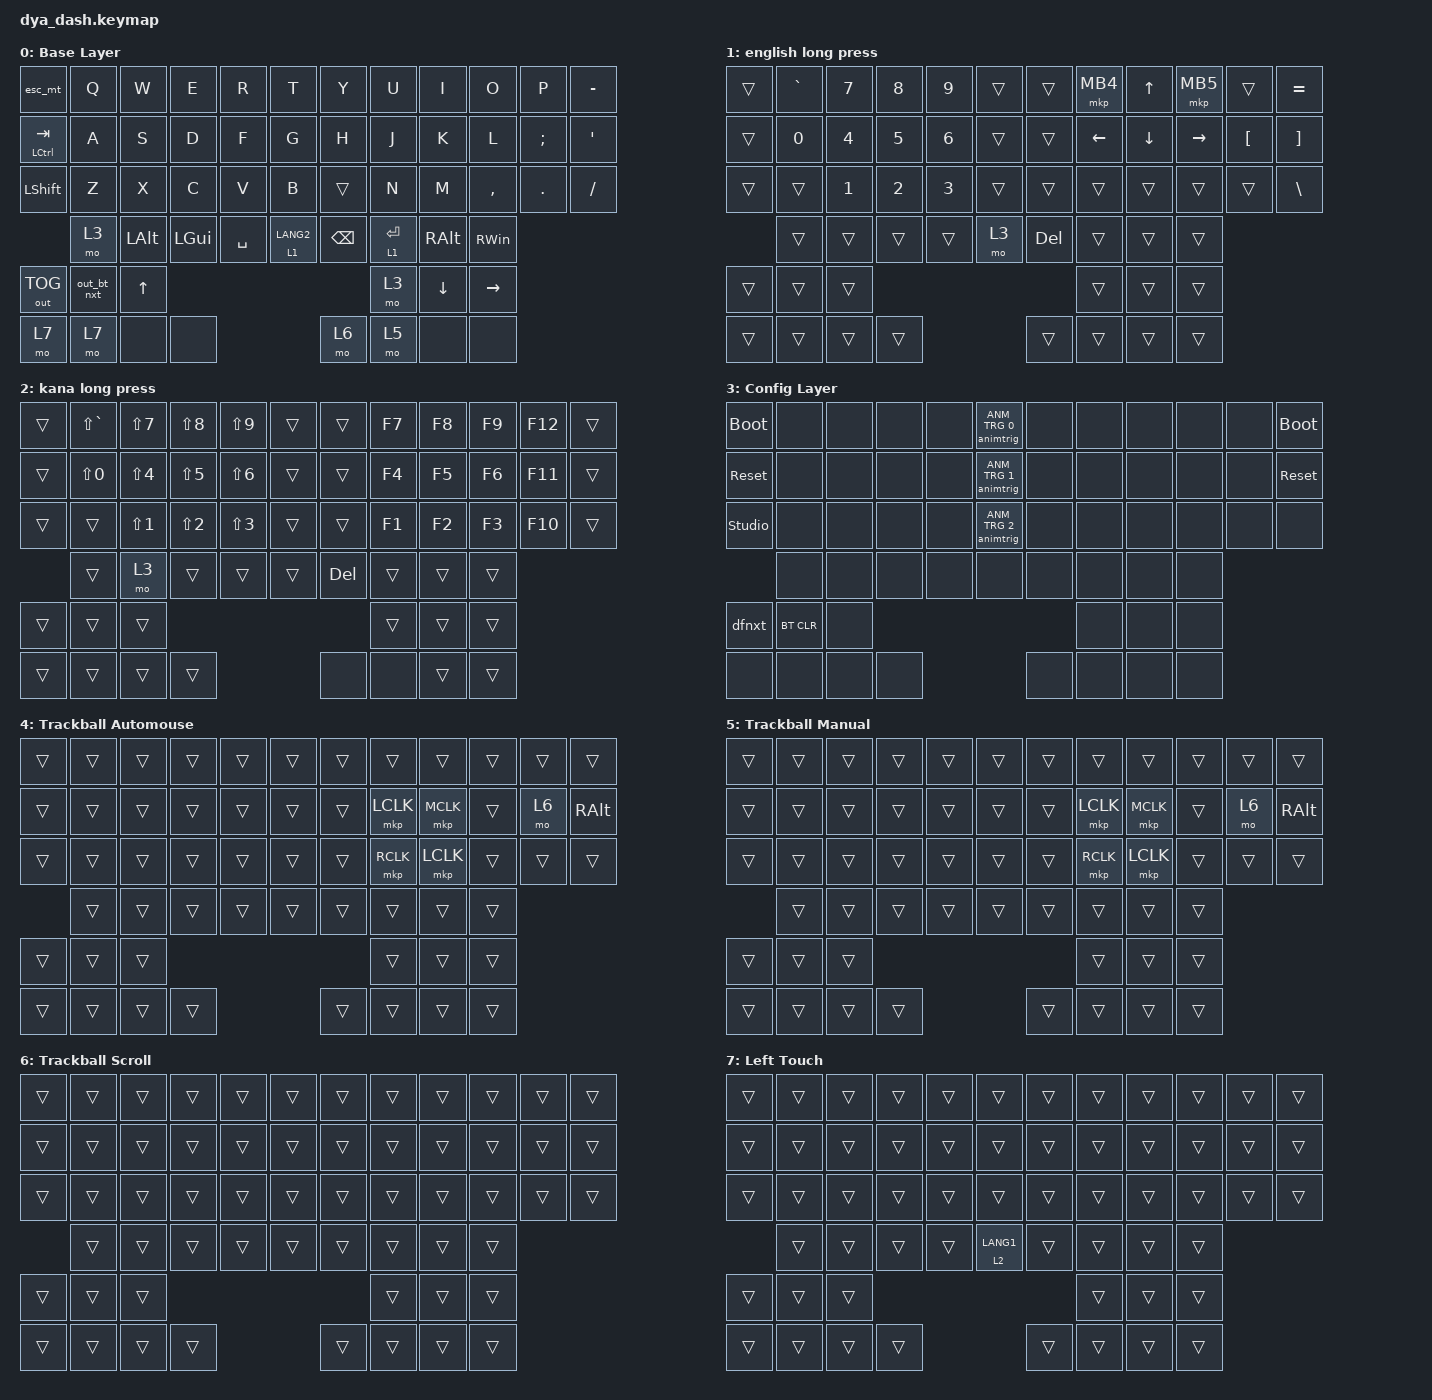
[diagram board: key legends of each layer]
#include <behaviors/mouse_move.dtsi>
#include <behaviors/animation_control.dtsi>
#include <behaviors/animation_trigger.dtsi>
#include <dt-bindings/zmk/mouse.h>
#include <dt-bindings/zmk_driver_animation/animation_control.h>
#include <dt-bindings/zmk_driver_animation/animation_trigger.h>
#include <dt-bindings/zmk_behavior_default_layer/default_layer.h>
#include <behaviors.dtsi>
#include <dt-bindings/zmk/bt.h>
#include <dt-bindings/zmk/keys.h>
#include <dt-bindings/zmk/outputs.h>
#include <dt-bindings/zmk/pointing.h>

&mt {
    flavor = "hold-preferred";
};

&lt {
    flavor = "hold-preferred";
};

// Layer definitions

#define DEFAULT_L 0
#define LANG2_L 1
#define LANG1_L 2
#define CONFIG_L 3
#define TRACKBALL_L 4
#define TRACKBALL_L2 5
#define SCROLL_L 6
#define EXT1_L 7
#define EXT2_L 8
#define EXT3_L 9

&trackball_listener {
    input-processors = <
    // TRACKBALL_L layer is activated when trackball is used.
    // After 500ms of trackball inactivity, the layer is deactivated.
    &zip_temp_layer TRACKBALL_L 500
    // Example: Adjust sensitivity of trackball multiply by 1 and divide by 60.
    // &zip_xy_scaler 1 60
    >;
};

&trackball_scroller {
    layers = <SCROLL_L>;

    // Example: adjust sensitivity of scroll multiply by 1 and divide by 60.
    // input-processors = <&zip_xy_scaler 1 60 &zip_xy_to_scroll_mapper>;
};

&trackball_listener_l { input-processors = <&zip_temp_layer TRACKBALL_L 500>; };

&trackball_scroller_l { layers = <SCROLL_L>; };

&zip_temp_layer { excluded-positions = <19 20 21 22 32 33 41 52 53 54 55 56 57 58 59>; };

&trackball_r { cpi = <600>; };

&trackball_l { cpi = <600>; };

/ {
    behaviors {
        // ctrl+h as backspace

        hbackspace: h_or_ctrl_backspace {
            compatible = "zmk,behavior-mod-morph";
            #binding-cells = <0>;
            bindings = <&kp H>, <&kp BACKSPACE>;

            mods = <(MOD_LCTL)>;
        };

        // ctrl+j as enter

        jenter: j_or_ctrl_enter {
            compatible = "zmk,behavior-mod-morph";
            #binding-cells = <0>;
            bindings = <&kp J>, <&kp ENTER>;

            mods = <(MOD_LCTL)>;
        };

        esc_mt: esc_ctrl_tab {
            compatible = "zmk,behavior-mod-morph";
            #binding-cells = <0>;
            bindings = <&kp ESCAPE>, <&kp TAB>;
            mods = <(MOD_LCTL)>;
            keep-mods = <(MOD_LCTL)>;
        };
    };

    macros {
        // Disconnect from all once for reliable connection to selected profile.
        // ZMK automatically reconnects to current profile right after disconnection.

        out_bt_nxt: out_bt_nxt {
            compatible = "zmk,behavior-macro";
            #binding-cells = <0>;
            wait-ms = <50>;
            bindings = <&out OUT_BLE &bt BT_NXT &bt BT_DISC 0 &bt BT_DISC 1 &bt BT_DISC 2 &bt BT_DISC 3 &bt BT_DISC 4>;
        };

        // Change default layer for current profile to next layer

        dfnxt: dfnxt {
            compatible = "zmk,behavior-macro";
            #binding-cells = <0>;
            bindings = <&df DF_INC &animtrig ANM_TRG 2>;
        };
    };

    combos {
        compatible = "zmk,combos";

        // Right side's setting button shares input pin with arrow keys.
        // It works as a combo of two arrow keys.

        setting_r1 {
            timeout-ms = <10>;
            key-positions = <47 50>;
            bindings = <&kp C_VOL_DN>;
        };

        setting_r2 {
            timeout-ms = <10>;
            key-positions = <47 49>;
            bindings = <&kp C_VOL_UP>;
        };
    };

    keymap {
        compatible = "zmk,keymap";

        // template {
        //     bindings = <
        //         &trans      &trans      &trans      &trans      &trans      &trans      /**/ &trans      &trans      &trans      &trans      &trans      &trans
        //         &trans      &trans      &trans      &trans      &trans      &trans      /**/ &trans      &trans      &trans      &trans      &trans      &trans
        //         &trans      &trans      &trans      &trans      &trans      &trans      /**/ &trans      &trans      &trans      &trans      &trans      &trans
        //                     &trans      &trans      &trans      &trans      &trans      /**/ &trans      &trans      &trans      &trans
        //
        //         &trans      &trans                                                      /**/ &trans      &trans      &trans      &trans
        //         &trans      &trans      &trans      &trans                              /**/ &trans      &trans      &trans      &trans
        //     >;
        // };

        default_layer {
            display-name = "Base Layer";

            // --------------------------------------------------------------------------------------------------------------------------------------------------
            // |   TAB   |    Q    |    W    |    E    |    R    |    T       |            |    Y        |    U    |    I     |    O    |    P    |    [    |
            // |   CTRL  |    A    |    S    |    D    |    F    |    G       |            |    H        |    J    |    K     |    L    |    ;    |    '    |
            // |  SHIFT  |    Z    |    X    |    C    |    V    |    B       |            |    B        |    N    |    M     |    ,    |    .    |    /    |
            //           |  CONFIG |   WIN   |   ALT   |  SPACE  | LEFT_LAYER |            | RIGHT_LAYER |  SPACE  |   ALT    |   WIN   |
            // --------------------------------------------------------------------------------------------------------------------------------------------------
            // | BLE     |  USB    |                                                       |  left   | up      | down    | right   |
            // | touch1  | touch2  | touch3  | touch 4 |                                   | touch1  | touch2  | touch3  | touch 4 |

            bindings = <
&esc_mt     &kp Q         &kp W        &kp E         &kp R      &kp T        &kp Y           &kp U        &kp I     &kp O      &kp P     &kp MINUS
&mt LCTRL TAB  &kp A         &kp S        &kp D         &kp F      &kp G        &kp H           &kp J        &kp K     &kp L      &kp SEMI  &kp SQT
&kp LSHIFT     &kp Z         &kp X        &kp C         &kp V      &kp B        &trans  &kp N        &kp M     &kp COMMA  &kp DOT   &kp FSLH
               &mo 3  &kp LEFT_ALT &kp LEFT_GUI  &kp SPACE  &lt 1 LANG2  &kp BACKSPACE   &lt 1 ENTER  &kp RALT  &kp RWIN
&out OUT_TOG   &out_bt_nxt                                                      &kp UP          &mo 3        &kp DOWN  &kp RIGHT
&mo 7          &mo 7         &none        &none                                 &mo 6           &mo 5        &none     &none
            >;
        };

        lang2_layer_num {
            display-name = "english long press";

            // --------------------------------------------------------------------------------------------------------------------------------------------------------------------
            // |  ESC    |  !  |  @  |  #       |  $  |  %       |                           |  ^  |  &      |  *      |  (  |  )  |  ]  |
            // |         |  1  |  2  |  3       |  4  |  5       |                           |  6  |  7      |  8      |  9  |  0  |  \  |
            // |         |     |     |          |     |          |                           |  `  |  -      |  =      |  [  |  ]  |SHIFT|
            //           |     |     |          |     |          |                           |     |         |         |     |

            bindings = <
&trans  &kp GRAVE  &kp N7  &kp N8  &kp N9  &trans      &trans           &mkp MB4  &kp UP    &mkp MB5   &trans  &kp EQUAL
&trans  &kp N0     &kp N4  &kp N5  &kp N6  &trans         &trans           &kp LEFT  &kp DOWN  &kp RIGHT  &kp LEFT_BRACKET  &kp RIGHT_BRACKET
&trans  &trans     &kp N1  &kp N2  &kp N3  &trans  &trans  &trans    &trans    &trans     &trans  &kp BACKSLASH
        &trans     &trans  &trans  &trans  &mo 3          &kp DELETE  &trans  &trans  &trans
&trans  &trans                                            &trans  &trans  &trans  &trans
&trans  &trans     &trans  &trans                         &trans  &trans  &trans  &trans
            >;
        };

        lang1_layer_sym {
            display-name = "kana long press";
            bindings = <
&trans  &kp LS(GRAVE)  &kp LS(N7)  &kp LS(N8)  &kp LS(N9)  &trans      &trans &kp F7 &kp F8  &kp F9  &kp F12  &trans
&trans  &kp LS(N0)     &kp LS(N4)  &kp LS(N5)  &kp LS(N6)  &trans             &trans &kp F4 &kp F5  &kp F6  &kp F11  &trans
&trans  &trans         &kp LS(N1)  &kp LS(N2)  &kp LS(N3)  &trans  &trans &kp F1 &kp F2  &kp F3  &kp F10  &trans
        &trans         &mo 3       &trans      &trans      &trans             &kp DELETE           &trans    &trans    &trans
&trans  &trans                                                                &trans           &trans    &trans    &trans
&trans  &trans         &trans      &trans                                     &none            &none     &trans    &trans
            >;
        };

        config_layer {
            display-name = "Config Layer";
            bindings = <
&bootloader     &none       &none  &none  &none  &animtrig ANM_TRG 0  &none  &none  &none  &none  &none  &bootloader
&sys_reset      &none       &none  &none  &none  &animtrig ANM_TRG 1  &none  &none  &none  &none  &none  &sys_reset
&studio_unlock  &none       &none  &none  &none  &animtrig ANM_TRG 2  &none  &none  &none  &none  &none  &none
                &none       &none  &none  &none  &none                &none  &none  &none  &none
&dfnxt          &bt BT_CLR                                            &none  &none  &none  &none
&none           &none       &none  &none                              &none  &none  &none  &none
            >;
        };

        trackball_layer {
            display-name = "Trackball Automouse";
            bindings = <
&trans  &trans  &trans  &trans  &trans  &trans  &trans  &trans     &trans     &trans  &trans  &trans
&trans  &trans  &trans  &trans  &trans  &trans  &trans  &mkp LCLK  &mkp MCLK  &trans  &mo 6   &kp RALT
&trans  &trans  &trans  &trans  &trans  &trans  &trans  &mkp RCLK  &mkp LCLK  &trans  &trans  &trans
        &trans  &trans  &trans  &trans  &trans  &trans  &trans     &trans     &trans
&trans  &trans                                  &trans  &trans     &trans     &trans
&trans  &trans  &trans  &trans                  &trans  &trans     &trans     &trans
            >;
        };

        trackball_layer2 {
            display-name = "Trackball Manual";
            bindings = <
&trans  &trans  &trans  &trans  &trans  &trans  &trans  &trans     &trans     &trans  &trans  &trans
&trans  &trans  &trans  &trans  &trans  &trans  &trans  &mkp LCLK  &mkp MCLK  &trans  &mo 6   &kp RALT
&trans  &trans  &trans  &trans  &trans  &trans  &trans  &mkp RCLK  &mkp LCLK  &trans  &trans  &trans
        &trans  &trans  &trans  &trans  &trans  &trans  &trans     &trans     &trans
&trans  &trans                                  &trans  &trans     &trans     &trans
&trans  &trans  &trans  &trans                  &trans  &trans     &trans     &trans
            >;
        };

        scroll_layer {
            display-name = "Trackball Scroll";
            bindings = <
&trans  &trans  &trans  &trans  &trans  &trans  &trans  &trans  &trans  &trans  &trans  &trans
&trans  &trans  &trans  &trans  &trans  &trans  &trans  &trans  &trans  &trans  &trans  &trans
&trans  &trans  &trans  &trans  &trans  &trans  &trans  &trans  &trans  &trans  &trans  &trans
        &trans  &trans  &trans  &trans  &trans  &trans  &trans  &trans  &trans
&trans  &trans                                  &trans  &trans  &trans  &trans
&trans  &trans  &trans  &trans                  &trans  &trans  &trans  &trans
            >;
        };

        left_touch_layer {
            display-name = "Left Touch";
            bindings = <
&trans  &trans  &trans  &trans  &trans  &trans  &trans  &trans  &trans  &trans  &trans  &trans
&trans  &trans  &trans  &trans  &trans  &trans  &trans  &trans  &trans  &trans  &trans  &trans
&trans  &trans  &trans  &trans  &trans  &trans  &trans  &trans  &trans  &trans  &trans  &trans
        &trans  &trans  &trans  &trans  &lt 2 LANG1  &trans  &trans  &trans  &trans
&trans  &trans                                  &trans  &trans  &trans  &trans
&trans  &trans  &trans  &trans                  &trans  &trans  &trans  &trans
            >;
        };

        extra2 { status = "reserved"; };

        extra3 { status = "reserved"; };
    };
};
